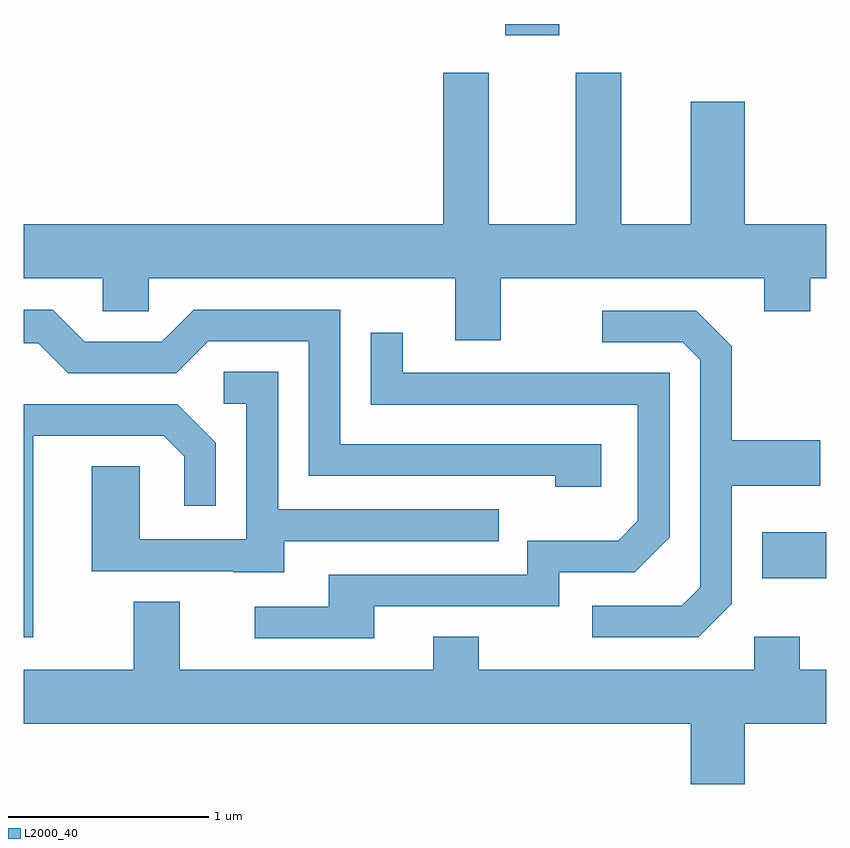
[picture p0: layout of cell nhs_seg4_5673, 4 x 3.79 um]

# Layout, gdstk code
import gdstk
lib = gdstk.Library(unit=1e-6, precision=1e-09)
def R(c, l, rs):  # rectangles x0, y0, x1, y1
    for r in rs: c.add(gdstk.rectangle(r[:2], r[2:], *l))
def P(c, l, *ps):  # polygons
    for p in ps: c.add(gdstk.Polygon(p, *l))
L2000_40 = (2000, 40)

nhs_seg4_5673 = lib.new_cell('nhs_seg4_5673')
R(nhs_seg4_5673, L2000_40, [(355.291,1313.221,355.611,1313.449), (354.011,1315.926,354.279,1315.982)])
P(nhs_seg4_5673, L2000_40, [(353.989,1314.716),(355.301,1314.716),(355.301,1314.551),(355.529,1314.551),(355.529,1314.716),(355.611,1314.716),(355.611,1314.984),(355.204,1314.984),(355.204,1315.594),(354.936,1315.594),(354.936,1314.984),(354.589,1314.984),(354.589,1315.739),(354.361,1315.739),(354.361,1314.984),(353.929,1314.984),(353.929,1315.739),(353.701,1315.739),(353.701,1314.984),(351.611,1314.984),(351.611,1314.716),(352.006,1314.716),(352.006,1314.551),(352.234,1314.551),(352.234,1314.716),(353.761,1314.716),(353.761,1314.406),(353.989,1314.406)],
  [(354.489,1313.889),(353.189,1313.889),(353.189,1314.559),(352.459,1314.559),(352.299,1314.399),(351.917,1314.399),(351.757,1314.559),(351.611,1314.559),(351.611,1314.391),(351.684,1314.391),(351.834,1314.241),(352.372,1314.241),(352.532,1314.401),(353.031,1314.401),(353.031,1313.731),(354.261,1313.731),(354.261,1313.676),(354.489,1313.676)],
  [(355.139,1313.094),(355.139,1313.681),(355.579,1313.681),(355.579,1313.909),(355.139,1313.909),(355.139,1314.377),(354.962,1314.554),(354.493,1314.554),(354.493,1314.396),(354.894,1314.396),(354.981,1314.309),(354.981,1313.177),(354.889,1313.084),(354.443,1313.084),(354.443,1312.926),(354.972,1312.926)],
  [(353.359,1313.081),(354.279,1313.081),(354.279,1313.251),(354.657,1313.251),(354.829,1313.424),(354.829,1314.244),(353.499,1314.244),(353.499,1314.443),(353.341,1314.443),(353.341,1314.086),(354.671,1314.086),(354.671,1313.507),(354.574,1313.409),(354.121,1313.409),(354.121,1313.239),(353.131,1313.239),(353.131,1313.079),(352.763,1313.079),(352.763,1312.921),(353.359,1312.921)],
  [(352.909,1313.406),(353.978,1313.406),(353.978,1313.564),(352.879,1313.564),(352.879,1314.249),(352.608,1314.249),(352.608,1314.091),(352.721,1314.091),(352.721,1313.414),(352.189,1313.414),(352.189,1313.779),(351.951,1313.779),(351.951,1313.256),(352.655,1313.256),(352.655,1313.251),(352.909,1313.251)],
  [(351.659,1313.931),(352.309,1313.931),(352.411,1313.829),(352.411,1313.583),(352.569,1313.583),(352.569,1313.897),(352.377,1314.089),(351.611,1314.089),(351.611,1312.926),(351.659,1312.926)],
  [(355.204,1312.496),(355.611,1312.496),(355.611,1312.764),(355.479,1312.764),(355.479,1312.929),(355.251,1312.929),(355.251,1312.764),(353.879,1312.764),(353.879,1312.929),(353.651,1312.929),(353.651,1312.764),(352.389,1312.764),(352.389,1313.104),(352.161,1313.104),(352.161,1312.764),(351.611,1312.764),(351.611,1312.496),(354.936,1312.496),(354.936,1312.196),(355.204,1312.196)])

lib.write_gds('nhs_seg4_5673.gds')
